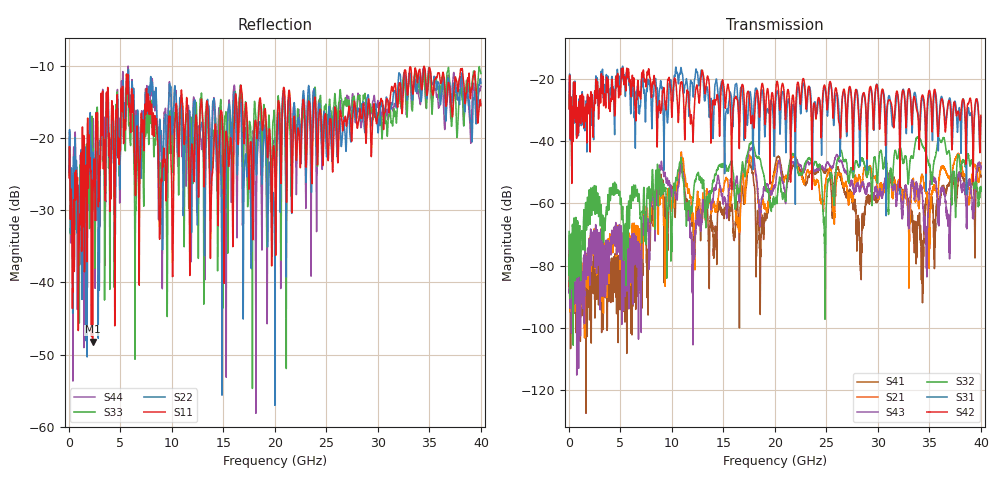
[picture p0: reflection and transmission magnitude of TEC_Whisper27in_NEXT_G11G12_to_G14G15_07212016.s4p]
! TE Connectivity
! G11G12-G14G15_NEXT
!! PART DESCRIPTION: Whisper 27in Megtron 6 HVLP-HVLP-HVLP Channel Model, bulkhead 2.92mm test points
!! MODEL DESCRIPTION: System 4-port S-parameter
!! MODEL STATUS: Measured
!! MODEL GEOMETRY: Channel Model
!! MODEL FREQUENCY RANGE: DC to 40 GHz in 10 MHz frequency steps
!! MODEL EDGE RATE LIMITATION: 12.5 ps (Using conservative 0.5/Fmax rule of thumb)
!! TIME-DOMAIN TRANSFORM CAUTIONS:
!! 1.) Do not simulate transient edge rates faster than the number listed above.  Edge
!!  rates faster than this number contain significant spectral content at frequencies
!!  above the model's highest frequency.
!! 2.) Even when simulating edge rates that are slower than the number listed above, be
!!  aware that the best time resolution possible with a direct iFFT is (1 / 2Fmax).
!!  As a result, time resolution is typically not adequate for most time-domain
!!  simulations unless tricks such as frequency-domain zero-padding and windowing are
!!  used to minimize leakage and aliasing.
!! 3.) Because the model has a uniform frequency step, a direct iFFT will result in an
!!  impulse that that has a time length given by either (1 / Fstep) or (1 / 2Fstep),
!!  depending on the transform being used.  Care has been taken in selecting the
!!  frequency step to ensure a settled impulse response for the model.  Therefore,
!!  convolution with the model's impulse response should present no issues.  However,
!!  if directly concatenating s-parameter models in the frequency domain a user must
!!  either interpolate necessary interim frequencies or complete impulse response
!!  zero-padding.  Impulse response zero-padding is more difficult, but more accurate.
!! PORT DEFINITIONS:
!! Port  1  ----->  Side A  G11  G14  Side B  <-----  Port  2
!! Port  3  ----->  Side A  G12  G15  Side B  <-----  Port  4
! Point-to-Point link (differential)  !
! Connectors:  !
!  1: STRADA Whisper 3.9mm  !
! Materials:  !
!  Backplane: Megtron-6 HVLP  !
!  Daughtercard: Megtron-6 HVLP  !
! Stack-up:  !
!  Backplane: 20 layers, 190mil thick  !
!  Daughtercard: 14 layers, 110mil thick  !
! Trace Length:  !
!  Backplane: 17in  !
!  Daughtercards: 5in  !
! Trace Width:  !
!  Backplane: 5.75-6.25-5.75 mils  !
!  Daughtercards: 6-9-6 mils  !
! Geometry:  !
!  Backplane: Stripline  !
!  Daughtercards: Stripline  !
! Layer Connections:  !
!  Backplane: Layer 16, counterbored(1-6mil stub)  !
!  Daughtercard: Layer 9, counterbored(1-6mil stub) !
! Freq. Range: 0 GHz - 40 GHz  !
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# hz S ma R 50
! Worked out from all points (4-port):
!   4000 points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, 10 MHz to 40 GHz, reference 50 ohm
!   strongest paths, dB at 10 MHz, 10.01 GHz, 20.01 GHz, 30.01 GHz, 40 GHz:
!     S42: -29.6, -31.1, -28.9, -24.4, -31.6
!     S31: -29.4, -24.0, -32.1, -23.3, -32.1
!     S32: -69.0, -66.7, -59.7, -50.6, -56.1
!     S43: -76.1, -56.6, -54.7, -57.2, -49.1
!     S21: -70.5, -58.1, -49.8, -58.8, -46.9
!     S41: -75.7, -55.6, -47.9, -57.8, -51.4
!   lowest |S11| = -48.2 dB at 2.29 GHz (marker M1), VSWR 1.01, Z = 50.3 - j0.279 ohm
!   |S11| at or under -10 dB: start of sweep to end of sweep
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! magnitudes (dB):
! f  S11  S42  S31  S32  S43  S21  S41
! 10 MHz  -25.5  -29.6  -29.4  -69.0  -76.1  -70.5  -75.7
! 2.29 GHz  -48.2  -29.4  -29.9  -54.8  -69.3  -71.6  -85.2
! 10.93 GHz  -13.4  -20.9  -17.4  -46.2  -47.0  -43.9  -46.3
! 12.03 GHz  -22.3  -38.8  -24.2  -58.8  -78.1  -63.1  -67.0
! 17.68 GHz  -20.8  -34.2  -26.0  -40.3  -42.3  -45.0  -48.1
! 34.27 GHz  -13.3  -25.4  -26.6  -40.8  -56.3  -50.9  -85.8
! 40 GHz  -15.5  -31.6  -32.1  -56.1  -49.1  -46.9  -51.4
